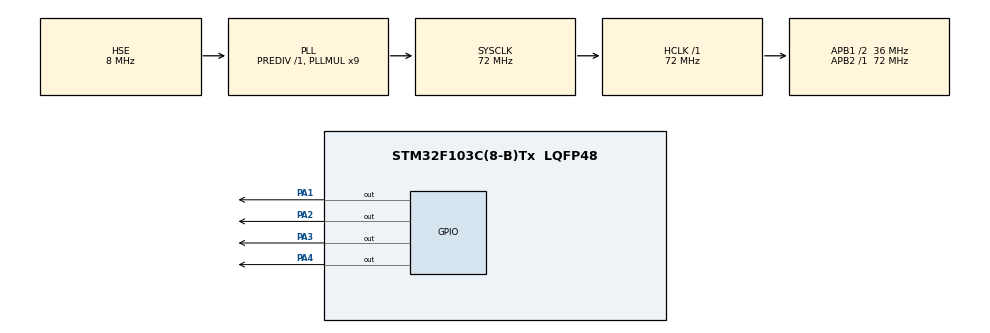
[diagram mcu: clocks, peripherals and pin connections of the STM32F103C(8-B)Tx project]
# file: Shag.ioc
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Mcu.Family=STM32F1
Mcu.Name=STM32F103C(8-B)Tx
Mcu.Package=LQFP48
NVIC.PriorityGroup=NVIC_PRIORITYGROUP_4
PA1.Signal=GPIO_Output
PA13.Mode=Serial_Wire
PA13.Signal=SYS_JTMS-SWDIO
PA14.Mode=Serial_Wire
PA14.Signal=SYS_JTCK-SWCLK
PA2.Signal=GPIO_Output
PA3.Signal=GPIO_Output
PA4.Signal=GPIO_Output
PD0-OSC_IN.Mode=HSE-External-Oscillator
PD0-OSC_IN.Signal=RCC_OSC_IN
PD1-OSC_OUT.Mode=HSE-External-Oscillator
PD1-OSC_OUT.Signal=RCC_OSC_OUT
ProjectManager.HeapSize=0x200
ProjectManager.StackSize=0x400
ProjectManager.TargetToolchain=STM32CubeIDE
RCC.AHBFreq_Value=72000000
RCC.APB1CLKDivider=RCC_HCLK_DIV2
RCC.APB1Freq_Value=36000000
RCC.APB1TimFreq_Value=72000000
RCC.APB2Freq_Value=72000000
RCC.APB2TimFreq_Value=72000000
RCC.HCLKFreq_Value=72000000
RCC.PLLMUL=RCC_PLL_MUL9
RCC.PLLSourceVirtual=RCC_PLLSOURCE_HSE
RCC.SYSCLKFreq_VALUE=72000000
RCC.SYSCLKSource=RCC_SYSCLKSOURCE_PLLCLK
RCC.USBFreq_Value=72000000
VP_TIM1_VS_ClockSourceINT.Mode=Internal
board=custom

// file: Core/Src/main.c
/* USER CODE BEGIN Header */
/**
  ******************************************************************************
  * @file           : main.c
  * @brief          : Main program body
  ******************************************************************************
  * @attention
  *
  * <h2><center>&copy; Copyright (c) 2020 STMicroelectronics.
  * All rights reserved.</center></h2>
  *
  * This software component is licensed by ST under BSD 3-Clause license,
  * the "License"; You may not use this file except in compliance with the
  * License. You may obtain a copy of the License at:
  *                        opensource.org/licenses/BSD-3-Clause
  *
  ******************************************************************************
  */
/* USER CODE END Header */

#include "main.h"

TIM_HandleTypeDef htim1;

void SystemClock_Config(void);
static void MX_GPIO_Init(void);
static void MX_TIM1_Init(void);

/* USER CODE BEGIN 0 */

void delay (uint16_t us)
{
	__HAL_TIM_SET_COUNTER(&htim1, 0);
	while (__HAL_TIM_GET_COUNTER(&htim1) < us);
}

#define stepsperrev 4096

/* use like delay */

void stepper_set_rpm (int rpm)  // Set rpm--> max 13, min 1,,,  went to 14 rev/min
{
	delay(60000000/stepsperrev/rpm);
}

void stepper_half_drive (int step)
{
	switch (step){
		case 0:
			  GPIOA->BSRR = (uint32_t) ((GPIO_PIN_1) || (GPIO_PIN_2 << 16u) || (GPIO_PIN_3 << 16u) || (GPIO_PIN_4 << 16u));
			  break;

		case 1:
			  GPIOA->BSRR = (uint32_t) ((GPIO_PIN_1) || (GPIO_PIN_2) || (GPIO_PIN_3 << 16u) || (GPIO_PIN_4 << 16u));
			  break;

		case 2:
			  GPIOA->BSRR = (uint32_t) ((GPIO_PIN_1 << 16u) || (GPIO_PIN_2) || (GPIO_PIN_3 << 16u) || (GPIO_PIN_4 << 16u));
			  break;

		case 3:
			  GPIOA->BSRR = (uint32_t) ((GPIO_PIN_1 << 16u) || (GPIO_PIN_2) || (GPIO_PIN_3) || (GPIO_PIN_4 << 16u));
			  break;

		case 4:
			  GPIOA->BSRR = (uint32_t) ((GPIO_PIN_1 << 16u) || (GPIO_PIN_2 << 16u) || (GPIO_PIN_3) || (GPIO_PIN_4 << 16u));

			  break;

		case 5:
			  GPIOA->BSRR = (uint32_t) ((GPIO_PIN_1 << 16u) || (GPIO_PIN_2 << 16u) || (GPIO_PIN_3) || (GPIO_PIN_4));
			  break;

		case 6:
			  GPIOA->BSRR = (uint32_t) ((GPIO_PIN_1 << 16u) || (GPIO_PIN_2 << 16u) || (GPIO_PIN_3 << 16u) || (GPIO_PIN_4));
			  break;

		case 7:
			  GPIOA->BSRR = (uint32_t) ((GPIO_PIN_1) || (GPIO_PIN_2 << 16u) || (GPIO_PIN_3 << 16u) || (GPIO_PIN_4));
			  break;

		}
}

void stepper_step_angle (float angle, int direction, int rpm)
{
	float anglepersequence = 0.703125;  // 360 = 512 sequences
	int numberofsequences = (int) (angle/anglepersequence);

	for (int seq=0; seq < numberofsequences; seq++)
	{
		if (direction == 0)  // for clockwise
		{
			for (int step=7; step>=0; step--)
			{
				stepper_half_drive(step);
				stepper_set_rpm(rpm);
			}

		}

		else if (direction == 1)  // for anti-clockwise
		{
			for (int step=0; step < 8; step++)
			{
				stepper_half_drive(step);
				stepper_set_rpm(rpm);
			}
		}
	}
}

/* USER CODE END 0 */

int main(void)
{

  /* MCU Configuration--------------------------------------------------------*/

  /* Reset of all peripherals, Initializes the Flash interface and the Systick. */
  HAL_Init();

  /* Configure the system clock */
  SystemClock_Config();

  /* Initialize all configured peripherals */
  MX_GPIO_Init();
  MX_TIM1_Init();
  /* USER CODE BEGIN 2 */

  HAL_TIM_Base_Start(&htim1);

  /* USER CODE END 2 */

  /* Infinite loop */
  while (1)
  {

    /* USER CODE BEGIN 3 */
//	  for (int i=0; i<512; i++)
//	  {
//		  for (int i=0; i<8; i++)
//		  {
//			  stepper_half_drive(i);
//			  stepper_set_rpm(13);
//		  }
//	  }

	  stepper_step_angle(22.5, 1, 12);

	  HAL_Delay(1000);
  }
  /* USER CODE END 3 */
}

void SystemClock_Config(void)
{
  RCC_OscInitTypeDef RCC_OscInitStruct = {0};
  RCC_ClkInitTypeDef RCC_ClkInitStruct = {0};

  /** Initializes the CPU, AHB and APB busses clocks
  */
  RCC_OscInitStruct.OscillatorType = RCC_OSCILLATORTYPE_HSE;
  RCC_OscInitStruct.HSEState = RCC_HSE_ON;
  RCC_OscInitStruct.HSEPredivValue = RCC_HSE_PREDIV_DIV1;
  RCC_OscInitStruct.HSIState = RCC_HSI_ON;
  RCC_OscInitStruct.PLL.PLLState = RCC_PLL_ON;
  RCC_OscInitStruct.PLL.PLLSource = RCC_PLLSOURCE_HSE;
  RCC_OscInitStruct.PLL.PLLMUL = RCC_PLL_MUL9;
  if (HAL_RCC_OscConfig(&RCC_OscInitStruct) != HAL_OK)
  {
    Error_Handler();
  }
  /** Initializes the CPU, AHB and APB busses clocks
  */
  RCC_ClkInitStruct.ClockType = RCC_CLOCKTYPE_HCLK|RCC_CLOCKTYPE_SYSCLK
                              |RCC_CLOCKTYPE_PCLK1|RCC_CLOCKTYPE_PCLK2;
  RCC_ClkInitStruct.SYSCLKSource = RCC_SYSCLKSOURCE_PLLCLK;
  RCC_ClkInitStruct.AHBCLKDivider = RCC_SYSCLK_DIV1;
  RCC_ClkInitStruct.APB1CLKDivider = RCC_HCLK_DIV2;
  RCC_ClkInitStruct.APB2CLKDivider = RCC_HCLK_DIV1;

  if (HAL_RCC_ClockConfig(&RCC_ClkInitStruct, FLASH_LATENCY_2) != HAL_OK)
  {
    Error_Handler();
  }
}

static void MX_TIM1_Init(void)
{

  TIM_ClockConfigTypeDef sClockSourceConfig = {0};
  TIM_MasterConfigTypeDef sMasterConfig = {0};

  htim1.Instance = TIM1;
  htim1.Init.Prescaler = 72-1;
  htim1.Init.CounterMode = TIM_COUNTERMODE_UP;
  htim1.Init.Period = 0xffff-1;
  htim1.Init.ClockDivision = TIM_CLOCKDIVISION_DIV1;
  htim1.Init.RepetitionCounter = 0;
  htim1.Init.AutoReloadPreload = TIM_AUTORELOAD_PRELOAD_DISABLE;
  if (HAL_TIM_Base_Init(&htim1) != HAL_OK)
  {
    Error_Handler();
  }
  sClockSourceConfig.ClockSource = TIM_CLOCKSOURCE_INTERNAL;
  if (HAL_TIM_ConfigClockSource(&htim1, &sClockSourceConfig) != HAL_OK)
  {
    Error_Handler();
  }
  sMasterConfig.MasterOutputTrigger = TIM_TRGO_RESET;
  sMasterConfig.MasterSlaveMode = TIM_MASTERSLAVEMODE_DISABLE;
  if (HAL_TIMEx_MasterConfigSynchronization(&htim1, &sMasterConfig) != HAL_OK)
  {
    Error_Handler();
  }

}

static void MX_GPIO_Init(void)
{
  GPIO_InitTypeDef GPIO_InitStruct = {0};

  /* GPIO Ports Clock Enable */
  __HAL_RCC_GPIOD_CLK_ENABLE();
  __HAL_RCC_GPIOA_CLK_ENABLE();

  /*Configure GPIO pin Output Level */
  HAL_GPIO_WritePin(GPIOA, GPIO_PIN_1|GPIO_PIN_2|GPIO_PIN_3|GPIO_PIN_4, GPIO_PIN_RESET);

  /*Configure GPIO pins : PA1 PA2 PA3 PA4 */
  GPIO_InitStruct.Pin = GPIO_PIN_1|GPIO_PIN_2|GPIO_PIN_3|GPIO_PIN_4;
  GPIO_InitStruct.Mode = GPIO_MODE_OUTPUT_PP;
  GPIO_InitStruct.Pull = GPIO_NOPULL;
  GPIO_InitStruct.Speed = GPIO_SPEED_FREQ_LOW;
  HAL_GPIO_Init(GPIOA, &GPIO_InitStruct);

}

void Error_Handler(void)
{
}

/************************ (C) COPYRIGHT STMicroelectronics *****END OF FILE****/
